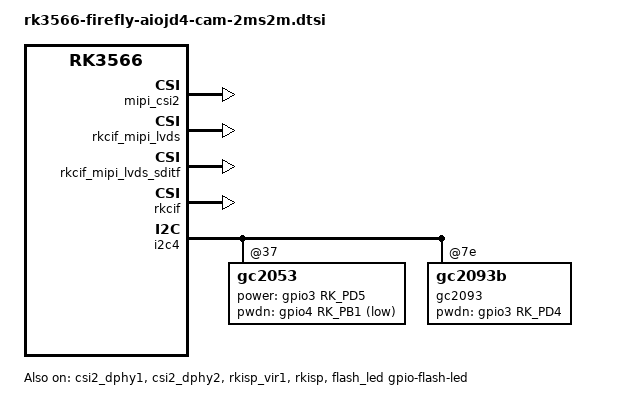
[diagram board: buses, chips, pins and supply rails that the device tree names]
// SPDX-License-Identifier: (GPL-2.0+ OR MIT)
/*
 * Copyright (c) 2020 Rockchip Electronics Co., Ltd.
 *
 */

/* 2M  dual camera gc2053(IR)/gc2093(RGB) */

/*
* csi2_dphy0: used for csi2 dphy full mode,
        is mutually exclusive with
        csi2_dphy1 and csi2_dphy2
* csi2_dphy1: used for csi2 dphy split mode,
        physical lanes use lane0 and lane1,
        can be used with csi2_dphy2  parallel
* csi2_dphy2: used for csi2 dphy split mode,
        physical lanes use lane2 and lane3,
        can be used with csi2_dphy1  parallel
*/

&csi2_dphy0 {
    status = "disabled";
};

&csi2_dphy1 {
    status = "okay";
};


&csi2_dphy2 {
    status = "okay";
};

&mipi_csi2 {
    status = "okay";
};

&rkisp_vir1 {
    status = "okay";
};

&mipi_csi2 {
    status = "okay";
};

&rkcif_mipi_lvds {
    status = "okay";
};

&rkcif_mipi_lvds_sditf {
    status = "okay";
};

&rkcif_mmu {
    status = "okay";
};

&rkcif {
    status = "okay";
};

&rkisp {
    status = "okay";
};

&rkisp_mmu {
    status = "okay";
};

/*
 * csidphy_out ----> csi2_dphy0
 * dphy1_out   ----> csi2_dphy1
 * dphy2_out   ----> csi2_dphy2
 */
&isp0_in {
    remote-endpoint = <&dphy1_out>;
};

&i2c4 {
	status = "okay";
        gc2053: gc2053@37 { //IR
        	status = "okay";
		clocks = <&cru CLK_CIF_OUT>;
                pinctrl-names = "default";
                pinctrl-0 = <&cif_clk>;
                power-gpios = <&gpio3 RK_PD5 GPIO_ACTIVE_HIGH>;//IR_PWR_EN
                pwdn-gpios = <&gpio4 RK_PB1 GPIO_ACTIVE_LOW>;
        };

        gc2093: gc2093b@7e{ //RGB
        	status = "okay";
                clock-names = "xvclk";
                pinctrl-names = "default";
                pwdn-gpios = <&gpio3 RK_PD4 GPIO_ACTIVE_HIGH>;
        };

};
&vcc_camera {
	status = "okay";
	gpio = <&gpio4 RK_PA4 GPIO_ACTIVE_HIGH>;
};

&flash_led {
	status = "okay";
	label = "gpio-flash-led";
	enable-gpio = <&gpio4 RK_PA7 GPIO_ACTIVE_HIGH>;
	/delete-node/ pwms;
};
&pinctrl {
        cam {
                vcc_cam: vcc-cam {
                        rockchip,pins = <4 RK_PA4 RK_FUNC_GPIO &pcfg_pull_none>;
                };
        };
};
